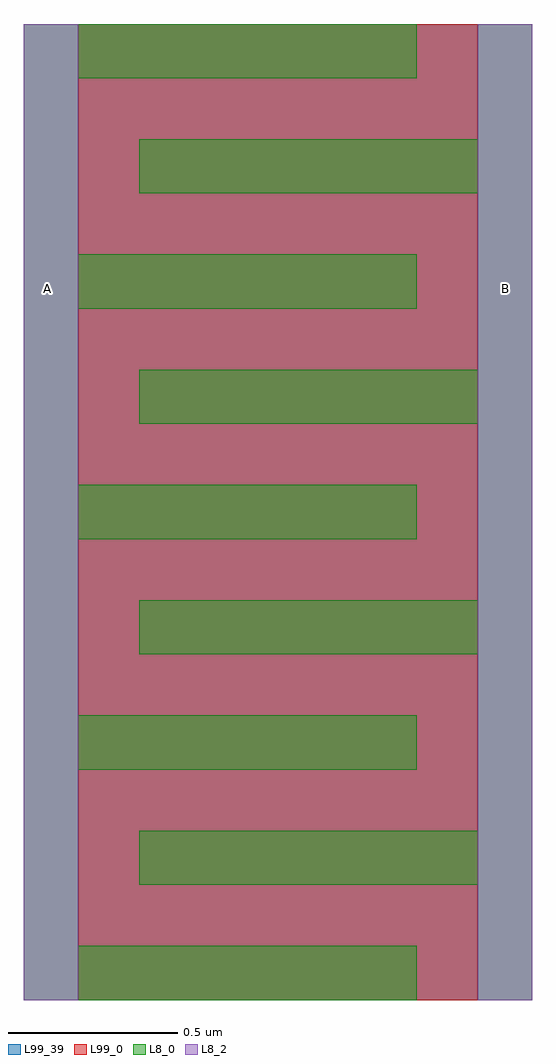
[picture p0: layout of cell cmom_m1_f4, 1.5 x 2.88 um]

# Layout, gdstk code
import gdstk
lib = gdstk.Library(unit=1e-6, precision=5e-09)
def R(c, l, rs):  # rectangles x0, y0, x1, y1
    for r in rs: c.add(gdstk.rectangle(r[:2], r[2:], *l))
def A(c, l, x, y, w, h, nx, ny, dx, dy):  # array of equal rectangles
    R(c, l, [(x+i*dx, y+j*dy, x+i*dx+w, y+j*dy+h) for i in range(nx) for j in range(ny)])
L8_0 = (8, 0)
L8_2 = (8, 2)
L99_0 = (99, 0)
L99_39 = (99, 39)

cmom_m1_f4 = lib.new_cell('cmom_m1_f4')
A(cmom_m1_f4, L8_0, 0, -2.88, 1, 0.16, 1, 5, 0, 0.68)
A(cmom_m1_f4, L8_0, 0.18, -2.54, 1, 0.16, 1, 4, 0, 0.68)
R(cmom_m1_f4, L8_0, [(-0.16,-2.88,0,0), (1.18,-2.88,1.34,0)])
R(cmom_m1_f4, L8_2, [(-0.16,-2.88,0,0), (1.18,-2.88,1.34,0)])
R(cmom_m1_f4, L99_0, [(0,-2.88,1.18,0)])
R(cmom_m1_f4, L99_39, [(0,-2.88,1.18,0)])
cmom_m1_f4.add(gdstk.Label('A', (-0.09,-0.78), layer=8, texttype=25))
cmom_m1_f4.add(gdstk.Label('B', (1.26,-0.78), layer=8, texttype=25))

lib.write_gds('cmom_m1_f4.gds')
